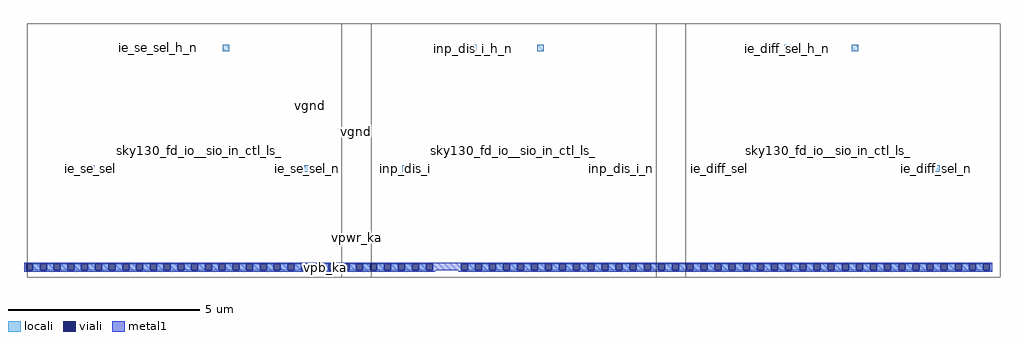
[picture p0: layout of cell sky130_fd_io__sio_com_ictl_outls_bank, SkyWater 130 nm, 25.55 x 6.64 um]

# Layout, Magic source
magic
tech sky130A
magscale 1 2
<< locali >>
rect 594 1131 628 1165
rect 946 1131 980 1165
rect 2240 1130 2274 1165
rect 2592 1131 2626 1165
rect 3886 1131 3920 1164
rect 4238 1131 4272 1165
rect 1390 831 1426 864
rect 239 501 273 535
rect 1373 501 1407 535
rect 1885 501 1919 535
rect 3019 501 3053 535
rect 3531 501 3565 535
rect 4665 501 4699 535
rect -48 -17 -10 17
rect 24 -17 62 17
rect 96 -17 134 17
rect 168 -17 206 17
rect 240 -17 278 17
rect 312 -17 350 17
rect 384 -17 422 17
rect 456 -17 494 17
rect 528 -17 566 17
rect 600 -17 638 17
rect 672 -17 710 17
rect 744 -17 782 17
rect 816 -17 854 17
rect 888 -17 926 17
rect 960 -17 998 17
rect 1032 -17 1070 17
rect 1104 -17 1142 17
rect 1176 -17 1214 17
rect 1248 -17 1286 17
rect 1320 -17 1358 17
rect 1392 -17 1430 17
rect 1464 -17 1502 17
rect 1536 -17 1574 17
rect 1608 -17 1646 17
rect 1680 -17 1719 17
rect 1753 -17 1792 17
rect 1826 -17 1865 17
rect 1899 -17 1938 17
rect 1972 -17 2011 17
rect 2229 -17 2268 17
rect 2302 -17 2341 17
rect 2375 -17 2414 17
rect 2448 -17 2487 17
rect 2521 -17 2560 17
rect 2594 -17 2634 17
rect 2668 -17 2708 17
rect 2742 -17 2782 17
rect 2816 -17 2856 17
rect 2890 -17 2930 17
rect 2964 -17 3004 17
rect 3038 -17 3078 17
rect 3112 -17 3152 17
rect 3186 -17 3226 17
rect 3260 -17 3300 17
rect 3334 -17 3374 17
rect 3408 -17 3448 17
rect 3482 -17 3522 17
rect 3556 -17 3596 17
rect 3630 -17 3670 17
rect 3704 -17 3744 17
rect 3778 -17 3818 17
rect 3852 -17 3892 17
rect 3926 -17 3966 17
rect 4000 -17 4040 17
rect 4074 -17 4114 17
rect 4148 -17 4188 17
rect 4222 -17 4262 17
rect 4296 -17 4336 17
rect 4370 -17 4410 17
rect 4444 -17 4484 17
rect 4518 -17 4558 17
rect 4592 -17 4632 17
rect 4666 -17 4706 17
rect 4740 -17 4780 17
rect 4814 -17 4854 17
rect 4888 -17 4928 17
<< viali >>
rect -82 -17 -48 17
rect -10 -17 24 17
rect 62 -17 96 17
rect 134 -17 168 17
rect 206 -17 240 17
rect 278 -17 312 17
rect 350 -17 384 17
rect 422 -17 456 17
rect 494 -17 528 17
rect 566 -17 600 17
rect 638 -17 672 17
rect 710 -17 744 17
rect 782 -17 816 17
rect 854 -17 888 17
rect 926 -17 960 17
rect 998 -17 1032 17
rect 1070 -17 1104 17
rect 1142 -17 1176 17
rect 1214 -17 1248 17
rect 1286 -17 1320 17
rect 1358 -17 1392 17
rect 1430 -17 1464 17
rect 1502 -17 1536 17
rect 1574 -17 1608 17
rect 1646 -17 1680 17
rect 1719 -17 1753 17
rect 1792 -17 1826 17
rect 1865 -17 1899 17
rect 1938 -17 1972 17
rect 2011 -17 2045 17
rect 2195 -17 2229 17
rect 2268 -17 2302 17
rect 2341 -17 2375 17
rect 2414 -17 2448 17
rect 2487 -17 2521 17
rect 2560 -17 2594 17
rect 2634 -17 2668 17
rect 2708 -17 2742 17
rect 2782 -17 2816 17
rect 2856 -17 2890 17
rect 2930 -17 2964 17
rect 3004 -17 3038 17
rect 3078 -17 3112 17
rect 3152 -17 3186 17
rect 3226 -17 3260 17
rect 3300 -17 3334 17
rect 3374 -17 3408 17
rect 3448 -17 3482 17
rect 3522 -17 3556 17
rect 3596 -17 3630 17
rect 3670 -17 3704 17
rect 3744 -17 3778 17
rect 3818 -17 3852 17
rect 3892 -17 3926 17
rect 3966 -17 4000 17
rect 4040 -17 4074 17
rect 4114 -17 4148 17
rect 4188 -17 4222 17
rect 4262 -17 4296 17
rect 4336 -17 4370 17
rect 4410 -17 4444 17
rect 4484 -17 4518 17
rect 4558 -17 4592 17
rect 4632 -17 4666 17
rect 4706 -17 4740 17
rect 4780 -17 4814 17
rect 4854 -17 4888 17
rect 4928 -17 4962 17
<< metal1 >>
rect 1629 691 1663 725
rect 1629 141 1663 175
rect -94 17 4974 23
rect -94 -17 -82 17
rect -48 -17 -10 17
rect 24 -17 62 17
rect 96 -17 134 17
rect 168 -17 206 17
rect 240 -17 278 17
rect 312 -17 350 17
rect 384 -17 422 17
rect 456 -17 494 17
rect 528 -17 566 17
rect 600 -17 638 17
rect 672 -17 710 17
rect 744 -17 782 17
rect 816 -17 854 17
rect 888 -17 926 17
rect 960 -17 998 17
rect 1032 -17 1070 17
rect 1104 -17 1142 17
rect 1176 -17 1214 17
rect 1248 -17 1286 17
rect 1320 -17 1358 17
rect 1392 -17 1430 17
rect 1464 -17 1502 17
rect 1536 -17 1574 17
rect 1608 -17 1646 17
rect 1680 -17 1719 17
rect 1753 -17 1792 17
rect 1826 -17 1865 17
rect 1899 -17 1938 17
rect 1972 -17 2011 17
rect 2045 -17 2195 17
rect 2229 -17 2268 17
rect 2302 -17 2341 17
rect 2375 -17 2414 17
rect 2448 -17 2487 17
rect 2521 -17 2560 17
rect 2594 -17 2634 17
rect 2668 -17 2708 17
rect 2742 -17 2782 17
rect 2816 -17 2856 17
rect 2890 -17 2930 17
rect 2964 -17 3004 17
rect 3038 -17 3078 17
rect 3112 -17 3152 17
rect 3186 -17 3226 17
rect 3260 -17 3300 17
rect 3334 -17 3374 17
rect 3408 -17 3448 17
rect 3482 -17 3522 17
rect 3556 -17 3596 17
rect 3630 -17 3670 17
rect 3704 -17 3744 17
rect 3778 -17 3818 17
rect 3852 -17 3892 17
rect 3926 -17 3966 17
rect 4000 -17 4040 17
rect 4074 -17 4114 17
rect 4148 -17 4188 17
rect 4222 -17 4262 17
rect 4296 -17 4336 17
rect 4370 -17 4410 17
rect 4444 -17 4484 17
rect 4518 -17 4558 17
rect 4592 -17 4632 17
rect 4666 -17 4706 17
rect 4740 -17 4780 17
rect 4814 -17 4854 17
rect 4888 -17 4928 17
rect 4962 -17 4974 17
rect -94 -23 2057 -17
tri 2057 -23 2063 -17 nw
tri 2177 -23 2183 -17 ne
rect 2183 -23 4974 -17
use sky130_fd_io__sio_in_ctl_ls_out  sky130_fd_io__sio_in_ctl_ls_out_0
transform 1 0 3292 0 -1 1232
box -77 -43 1723 1285
use sky130_fd_io__sio_in_ctl_ls_out  sky130_fd_io__sio_in_ctl_ls_out_1
transform 1 0 1646 0 -1 1232
box -77 -43 1723 1285
use sky130_fd_io__sio_in_ctl_ls_out  sky130_fd_io__sio_in_ctl_ls_out_2
transform 1 0 0 0 -1 1232
box -77 -43 1723 1285
<< labels >>
flabel metal1 s 1629 141 1663 175 0 FreeSans 600 0 0 0 vpwr_ka
port 1 nsew
flabel metal1 s 1629 691 1663 725 0 FreeSans 600 0 0 0 vgnd
port 2 nsew
flabel locali s 1390 831 1426 864 0 FreeSans 600 0 0 0 vgnd
port 2 nsew
flabel locali s 1468 -17 1502 16 0 FreeSans 600 0 0 0 vpb_ka
port 4 nsew
flabel locali s 3019 501 3053 535 0 FreeSans 600 0 0 0 inp_dis_i_n
port 5 nsew
flabel locali s 2240 1130 2274 1165 0 FreeSans 600 0 0 0 inp_dis_i_h_n
port 6 nsew
flabel locali s 2592 1131 2626 1165 0 FreeSans 600 0 0 0 inp_dis_i_h
port 7 nsew
flabel locali s 1885 501 1919 535 0 FreeSans 600 0 0 0 inp_dis_i
port 8 nsew
flabel locali s 1373 501 1407 535 0 FreeSans 600 0 0 0 ie_se_sel_n
port 9 nsew
flabel locali s 594 1131 628 1165 0 FreeSans 600 0 0 0 ie_se_sel_h_n
port 10 nsew
flabel locali s 946 1131 980 1165 0 FreeSans 600 0 0 0 ie_se_sel_h
port 11 nsew
flabel locali s 239 501 273 535 0 FreeSans 600 0 0 0 ie_se_sel
port 12 nsew
flabel locali s 4665 501 4699 535 0 FreeSans 600 0 0 0 ie_diff_sel_n
port 13 nsew
flabel locali s 3886 1131 3920 1164 0 FreeSans 600 0 0 0 ie_diff_sel_h_n
port 14 nsew
flabel locali s 4238 1131 4272 1165 0 FreeSans 600 0 0 0 ie_diff_sel_h
port 15 nsew
flabel locali s 3531 501 3565 535 0 FreeSans 600 0 0 0 ie_diff_sel
port 16 nsew
<< properties >>
string GDS_END 85532008
string GDS_FILE $PDKPATH/libs.ref/sky130_fd_io/gds/sky130_fd_io.gds
string GDS_START 85524916
string path 124.350 0.000 54.575 0.000 
<< end >>
